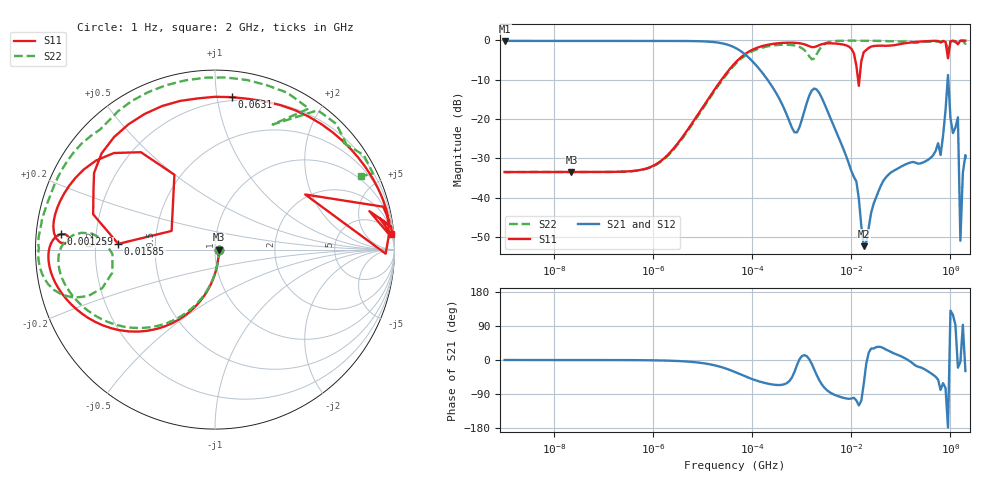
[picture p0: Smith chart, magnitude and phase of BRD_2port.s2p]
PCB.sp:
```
.SUBCKT		PCB_BRD_2port_s2p
+			1
+			ngnd
+			2


* NOTE - This is the Topology Workbench generated subcircuit definition for the S Parameter File:
* BRD_2port.s2p
* Editing of subcircuit definition is NOT recommended.

*Define the S element

.MODEL   Spara   S		
+		TSTONEFILE = "D:/Projects/HardwareDesign/Sigrity/ac_multi_ic/asi_models/BRD_2port.s2p"

S		
+			1
+			2
+			ngnd
+			MNAME = Spara

*
.ENDS
*
*
```
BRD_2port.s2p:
! Port1_J42::VDD
! Port2_U1::VDD
!Sigrity Suite Version: 19.0.2.04281.213619  002
!Computer Host Name: rmpodspbol01
!TouchstoneFormatFlag = 1
#	Hz	S	RI	R	0.1
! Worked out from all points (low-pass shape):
!   188 points, 1 Hz to 2 GHz, reference 0.1 ohm
!   highest |S21| = -0.19 dB at 1 Hz (marker M1); lowest = -52.3 dB at 17.78 MHz (marker M2)
!   |S21| within 3 dB of the highest: start of sweep to 64.78 kHz
!   lowest |S11| = -33.5 dB at 22.39 Hz (marker M3), VSWR 1.04, Z = 0.104 - j7.08e-05 ohm
!   |S11| at or under -10 dB: start of sweep to 24.08 kHz; 13.65 MHz to 14.57 MHz (920.3 kHz wide, 6.52 % of centre)
!   |S22| runs from -33.5 to -0.1 dB; largest |S21 - S12| = 3e-15
!   S11 on the Smith chart (normalised r, x): 1 Hz: 1.04, -0.00; 1.259 MHz: 0.07, +0.05; 15.85 MHz: 0.30, +0.03; 63.1 MHz: 0.18, +1.10; 2 GHz: 3, +21
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1  0.0212 -1.53e-05  0.9788 -1.5e-05  0.9788 -1.5e-05  0.0212 -1.46e-05
22.38721  0.0212 -0.000339  0.9788 -0.000334  0.9788 -0.000334  0.0212 -0.000325
50118.72  -0.3273 -0.4426  0.6371 -0.4359  0.6371 -0.4359  -0.3137 -0.4237
1258925  -0.86 0.0858  0.1582 0.0276  0.1582 0.0276  -0.6862 0.0896
1.584893e7  -0.5391 0.0319  -0.00131 -0.0042  -0.00131 -0.0042  -0.9842 0.0347
1.778279e7  -0.6788 0.1965  0.00112 -0.00215  0.00112 -0.00215  -0.9838 0.0484
6.309573e7  0.0957 0.8493  0.0196 0.00756  0.0196 0.00756  -0.9324 0.2636
8.912509e8  0.5027 0.3071  -0.3609 -0.0134  -0.3609 -0.0134  0.321 0.6967
1.412538e9  0.8599 0.2145  0.0984 -0.0361  0.0984 -0.0361  0.7034 0.603
1.584893e9  0.9806 0.13  0.00284 -0.000251  0.00284 -0.000251  0.8286 0.5263
2e9  0.9819 0.0895  0.028 -0.0155  0.028 -0.0155  0.8107 0.4115
